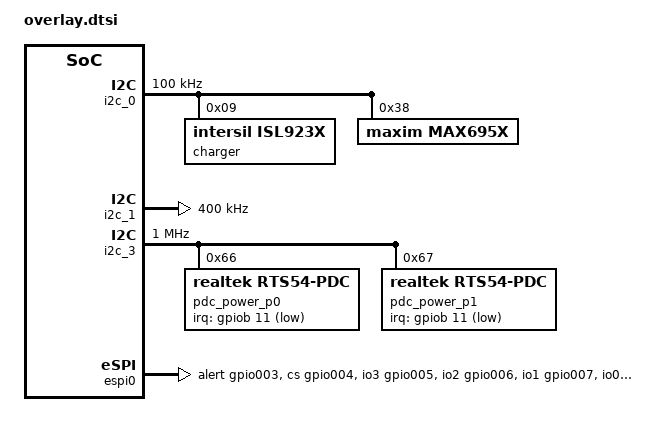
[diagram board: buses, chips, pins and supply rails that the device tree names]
/* Copyright 2025 The ChromiumOS Authors
 * Use of this source code is governed by a BSD-style license that can be
 * found in the LICENSE file.
 */

/* Set bus speeds for I2C */
&i2c_0 {
	label = "I2C_PORT_BATTERY";
	label = "I2C_PORT_CHARGER";
	label = "I2C_PORT_PORT80";
	clock-frequency = <I2C_BITRATE_STANDARD>;

	charger: isl9538@9 {
		compatible = "intersil,isl923x";
		status = "okay";
		reg = <0x9>;
	};

	max695x@38 {
		compatible = "maxim,max695x";
		reg = <0x38>;
	};
};

&i2c_1 {
	label = "I2C_SENSOR";
	clock-frequency = <I2C_BITRATE_FAST>;
};

&i2c_3 {
	label = "I2C_PORT_PD";
	clock-frequency = <I2C_BITRATE_FAST_PLUS>;

	pdc_power_p0: rts54-pdc@66 {
		compatible = "realtek,rts54-pdc";
		reg = <0x66>;
		irq-gpios = <&gpiob 11 GPIO_ACTIVE_LOW>;
		ccd;
	};

	pdc_power_p1: rts54-pdc@67 {
		compatible = "realtek,rts54-pdc";
		reg = <0x67>;
		irq-gpios = <&gpiob 11 GPIO_ACTIVE_LOW>;
		no-fw-update;
	};
};

&espi0 {
	status = "okay";
	pinctrl-0 = < &espi_alert_gpio003 &espi_cs_gpio004
				&espi_io3_gpio005 &espi_io2_gpio006
				&espi_io1_gpio007 &espi_io0_gpio008
				&espi_clk_gpio009 &espi_reset_gpio020>;
	pinctrl-names = "default";
};
